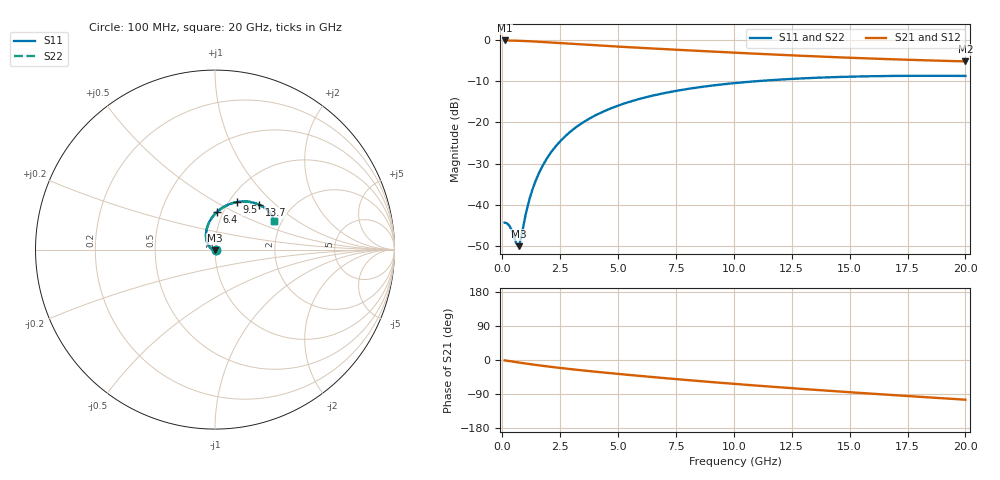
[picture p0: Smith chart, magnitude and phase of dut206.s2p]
! Touchstone file exported from HFSS 2024.1.0
!  File:  C:/UserFiles/LocalFiles/RDL_TSV_Batchsim/temp_RDL_TSV_206_1779444984.aedt
!  Generated:  06:34:07 PM May 22, 2026
!  Design:  RDL_TSV
!  Project:  temp_RDL_TSV_206_1779444984
!  Setup:  Setup1
!  Solution:  Sweep
! Variables:
!  dtsv = 8.12um
!  hbump = 3um
!  htsv = 56.22um
!  ldown = 322.91um
!  lrdl = 107.76um
!  p = 40
!  p1 = 50.36um
!  rhole = 10um
!  subl = 1399.77um
!  t = 450um
!  tdown = 4.15um
!  trdl = 4.76um
!  viad = 10um
!  wdown = 28.07um
!  wrdl = 15.84um
!  xbump = 18um
# GHz S MA R 50.000000
! Terminal data exported
! Port[1] = TM1_1_T1
! Port[2] = TM1_4_T1
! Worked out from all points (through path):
!   200 points, 100 MHz to 20 GHz, reference 50 ohm
!   highest |S21| = -0.06 dB at 100 MHz (marker M1); lowest = -5.2 dB at 20 GHz (marker M2)
!   group delay of S21, straight-line fit = 13.8 ps
!   lowest |S11| = -50.1 dB at 700 MHz (marker M3), VSWR 1.01, Z = 50 - j0.311 ohm
!   |S11| at or under -10 dB: start of sweep to 10.9 GHz
!   |S22| runs from -50.1 to -8.6 dB; largest |S21 - S12| = 2.3e-14
!   S11 on the Smith chart (normalised r, x): 100 MHz: 1.01, -0.00; 6.4 GHz: 0.93, +0.41; 9.5 GHz: 1.09, +0.63; 13.7 GHz: 1.39, +0.79; 20 GHz: 1.83, +0.68
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0.1  0.006052 -3.4  0.9936 -1.0  0.9936 -1.0  0.006052 -3.4
! Gamma 0 0 0 0
! Port Impedance 50 0 50 0
0.3  0.005575 -16.2  0.9917 -2.9  0.9917 -2.9  0.005574 -16.2
0.4  0.004948 -26.2  0.9903 -3.8  0.9903 -3.8  0.004948 -26.2
0.6  0.003399 -62.2  0.9869 -5.6  0.9869 -5.6  0.003399 -62.2
0.7  0.003128 -95.0  0.9848 -6.5  0.9848 -6.5  0.003128 -95.1
0.8  0.00381 -128.4  0.9825 -7.4  0.9825 -7.4  0.003811 -128.5
1  0.00737 -164.8  0.9771 -9.2  0.9771 -9.2  0.007373 -164.8
1.2  0.01237 178.8  0.971 -10.9  0.971 -10.9  0.01238 178.8
1.4  0.01824 168.6  0.9642 -12.6  0.9642 -12.6  0.01824 168.6
1.7  0.02821 157.7  0.9533 -15.0  0.9533 -15.0  0.02821 157.7
2.1  0.04306 146.6  0.938 -18.1  0.938 -18.1  0.04306 146.6
2.5  0.05901 137.6  0.9225 -21.0  0.9225 -21.0  0.05903 137.6
3.5  0.1005 119.9  0.8854 -27.6  0.8854 -27.6  0.1006 119.9
4.8  0.1526 103.0  0.8425 -35.5  0.8425 -35.5  0.1526 103.0
6.4  0.2089 87.3  0.7958 -44.6  0.7958 -44.6  0.209 87.3
6.8  0.2215 84.0  0.7849 -46.7  0.7849 -46.7  0.2215 84.0
9.5  0.2905 65.5  0.7175 -60.5  0.7175 -60.5  0.2905 65.5
10.1  0.3023 62.2  0.7039 -63.4  0.7039 -63.4  0.3024 62.2
13.4  0.3481 46.6  0.6384 -78.3  0.6384 -78.3  0.3482 46.6
13.7  0.3508 45.4  0.6333 -79.6  0.6333 -79.6  0.3509 45.4
16.7  0.3675 34.9  0.5885 -91.9  0.5885 -91.9  0.3677 34.9
20  0.3678 25.9  0.5526 -104.7  0.5526 -104.7  0.368 25.9
